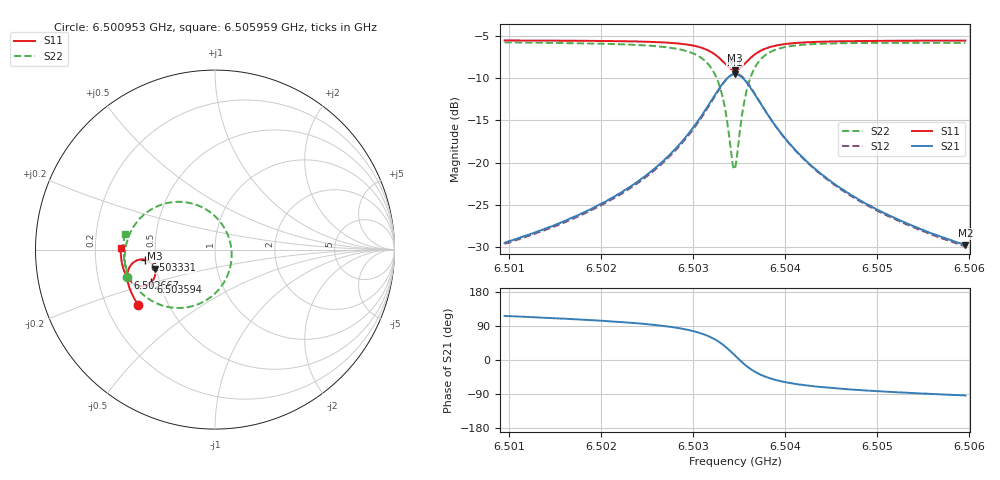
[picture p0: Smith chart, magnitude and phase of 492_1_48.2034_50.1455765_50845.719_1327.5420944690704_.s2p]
#  HZ  S  RI  R  50.00
! Rohde & Schwarz Vector Network Analyzer
! Rohde-Schwarz,ZNB20-2Port,1311601062101988,3.16
! Created: UTC 3/20/2024, 11:58:06 AM
! freq[Hz]  re:S11  im:S11  re:S21  im:S21  re:S12  im:S12  re:S22  im:S22
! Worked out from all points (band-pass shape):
!   401 points, 6.500953 GHz to 6.505959 GHz, reference 50 ohm
!   highest |S21| = -9.55 dB at 6.503456 GHz (marker M1); lowest = -29.8 dB at 6.505959 GHz (marker M2)
!   |S21| within 3 dB of the highest: 6.503206 GHz to 6.503707 GHz (500.6 kHz wide, 0.0077 % of centre)
!   lowest |S11| = -9.1 dB at 6.503456 GHz (marker M3), VSWR 2.09, Z = 24.4 - j5.9 ohm
!   |S11| at or under -10 dB: nowhere
!   |S22| runs from -20.8 to -5.8 dB; largest |S21 - S12| = 0.011
!   S11 on the Smith chart (normalised r, x): 6.500953 GHz: 0.34, -0.29; 6.502667 GHz: 0.33, -0.14; 6.503331 GHz: 0.44, -0.06; 6.503594 GHz: 0.45, -0.19; 6.505959 GHz: 0.31, +0.01
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6.5009527e9  -0.4264 -0.3099  -0.0149 0.0301  -0.0133 0.0303  -0.4895 -0.155
6.5017913e9  -0.4625 -0.2479  -0.0141 0.0481  -0.0119 0.0477  -0.5028 -0.0659
6.5022669e9  -0.4792 -0.2055  -0.0112 0.0682  -0.00818 0.0671  -0.4995 0.00207
6.5026299e9  -0.4876 -0.1651  -0.00228 0.0972  0.00124 0.0948  -0.4802 0.0752
6.5026674e9  -0.4881 -0.1603  -0.000426 0.1013  0.00299 0.0988  -0.4763 0.0846
6.5029428e9  -0.484 -0.1173  0.0264 0.1438  0.0299 0.1397  -0.4205 0.1708
6.5031305e9  -0.4624 -0.079  0.081 0.1862  0.0831 0.1804  -0.3164 0.2436
6.5032432e9  -0.4296 -0.0582  0.1505 0.2041  0.151 0.1982  -0.1912 0.2661
6.5033308e9  -0.3887 -0.0565  0.2306 0.1879  0.2308 0.1833  -0.053 0.2257
6.5034309e9  -0.3421 -0.0913  0.3156 0.1  0.3185 0.0959  0.081 0.054
6.5034559e9  -0.3355 -0.1059  0.326 0.0675  0.3294 0.0623  0.0921 -0.00669
6.503481e9  -0.3324 -0.122  0.3297 0.0334  0.3336 0.0272  0.0902 -0.069
6.5035435e9  -0.3396 -0.1599  0.3112 -0.0456  0.314 -0.0551  0.0342 -0.2062
6.5035936e9  -0.3561 -0.1822  0.2774 -0.0918  0.2775 -0.1026  -0.043 -0.2782
6.5036437e9  -0.3764 -0.1955  0.2383 -0.1203  0.2357 -0.1311  -0.1252 -0.3147
6.5037063e9  -0.401 -0.202  0.1921 -0.137  0.1871 -0.1463  -0.2161 -0.3249
6.503869e9  -0.4477 -0.1925  0.1094 -0.1336  0.1027 -0.1386  -0.365 -0.2778
6.5040442e9  -0.4754 -0.1712  0.0644 -0.1132  0.0584 -0.1156  -0.4377 -0.2123
6.5042945e9  -0.4963 -0.141  0.0341 -0.0886  0.0295 -0.0893  -0.4814 -0.1396
6.50467e9  -0.512 -0.1019  0.015 -0.065  0.0118 -0.0647  -0.5039 -0.0645
6.5051331e9  -0.5214 -0.0589  0.00495 -0.0485  0.0028 -0.0478  -0.5102 0.00117
6.5059591e9  -0.5264 0.0112  -0.00214 -0.0324  -0.00338 -0.0319  -0.5026 0.0889
